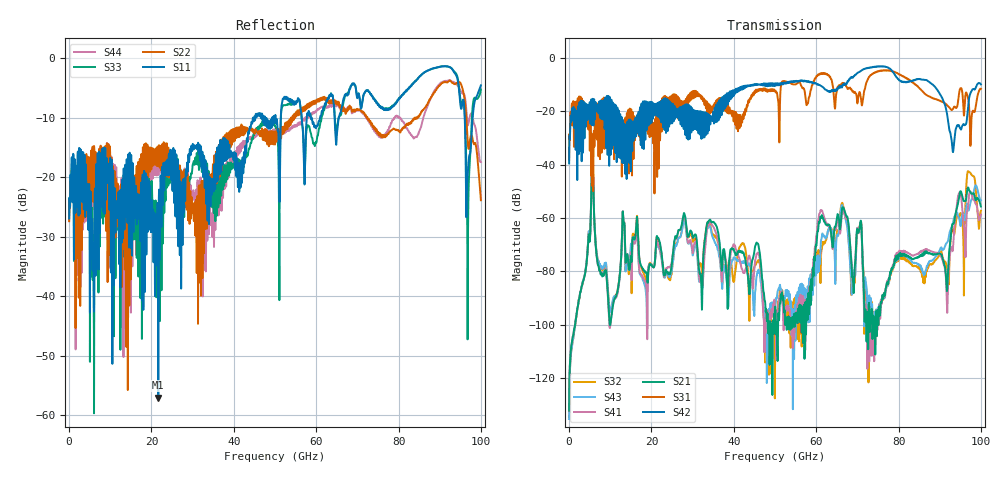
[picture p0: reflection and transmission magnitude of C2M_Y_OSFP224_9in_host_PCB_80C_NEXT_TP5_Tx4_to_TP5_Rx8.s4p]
# GHz S RI R 45
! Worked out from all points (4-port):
!   4000 points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, 25 MHz to 100 GHz, reference 45 ohm
!   strongest paths, dB at 25 MHz, 25.02 GHz, 50.02 GHz, 75.03 GHz, 100 GHz:
!     S42: -39.5, -23.5, -10.6, -3.3, -9.9
!     S31: -38.1, -14.4, -12.4, -5.0, -11.6
!     S21: -132.1, -76.3, -94.2, -96.7, -55.7
!     S41: -132.2, -75.5, -94.6, -94.1, -58.8
!     S43: -135.2, -78.8, -93.3, -93.4, -53.4
!     S32: -134.8, -79.2, -115.8, -97.8, -57.3
!   lowest |S11| = -57.0 dB at 21.68 GHz (marker M1), VSWR 1.00, Z = 45.1 - j0.026 ohm
!   |S11| at or under -10 dB: start of sweep to 44.65 GHz; 58.95 GHz to 60.92 GHz (1.968 GHz wide, 3.28 % of centre); 96.08 GHz to 98 GHz (1.928 GHz wide, 1.99 % of centre)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
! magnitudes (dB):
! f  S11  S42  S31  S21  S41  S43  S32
! 25 MHz  -26.9  -39.5  -38.1  -132.1  -132.2  -135.2  -134.8
! 5.725 GHz  -35.7  -15.3  -32.7  -42.6  -42.5  -42.5  -42.5
! 7.775 GHz  -17.6  -17.6  -17.0  -81.1  -80.8  -78.3  -78.7
! 21.68 GHz  -57.0  -21.6  -23.3  -67.5  -70.0  -70.6  -67.9
! 86.25 GHz  -2.4  -8.2  -13.3  -73.5  -71.9  -81.0  -83.2
! 93.17 GHz  -2.0  -35.1  -19.2  -62.1  -72.2  -62.1  -63.8
! 100 GHz  -4.6  -9.9  -11.6  -55.7  -58.8  -53.4  -57.3
